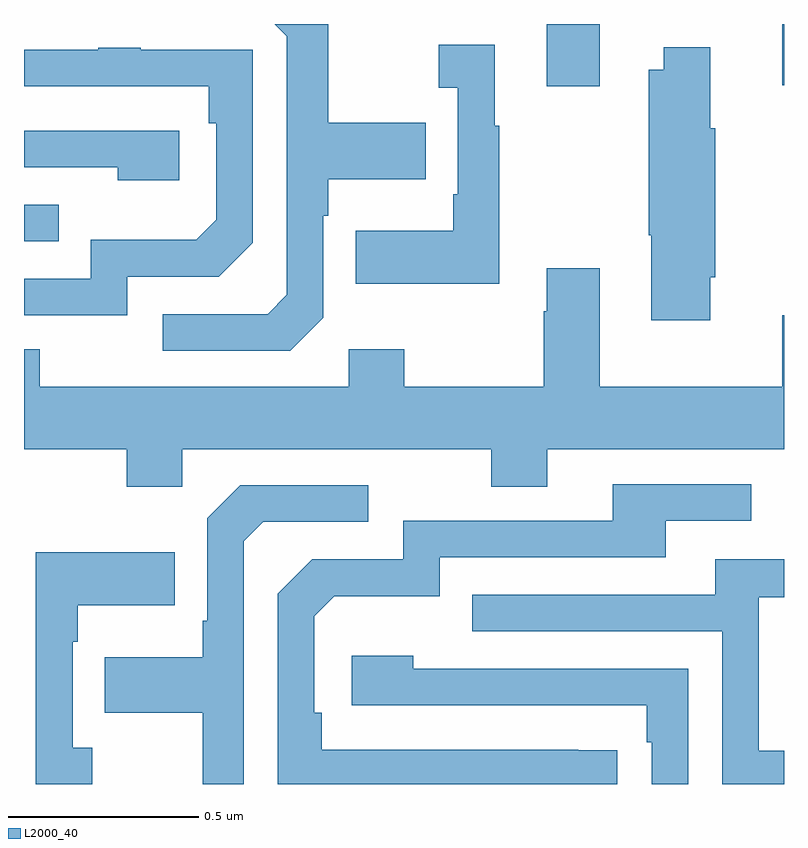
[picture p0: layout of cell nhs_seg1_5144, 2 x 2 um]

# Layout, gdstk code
import gdstk
lib = gdstk.Library(unit=1e-6, precision=1e-09)
def R(c, l, rs):  # rectangles x0, y0, x1, y1
    for r in rs: c.add(gdstk.rectangle(r[:2], r[2:], *l))
def P(c, l, *ps):  # polygons
    for p in ps: c.add(gdstk.Polygon(p, *l))
L2000_40 = (2000, 40)

nhs_seg1_5144 = lib.new_cell('nhs_seg1_5144')
R(nhs_seg1_5144, L2000_40, [(175,537.627,175.091,537.723), (176.375,538.035,176.515,538.199), (176.996,538.038,177,538.199)])
P(nhs_seg1_5144, L2000_40, [(175.788,537.426),(175.788,537.695),(175.801,537.695),(175.801,537.791),(176.057,537.791),(176.057,537.939),(175.801,537.939),(175.801,538.199),(175.66,538.199),(175.692,538.167),(175.692,537.486),(175.641,537.435),(175.365,537.435),(175.365,537.339),(175.701,537.339)],
  [(176.251,537.931),(176.239,537.931),(176.239,538.144),(176.091,538.144),(176.091,538.031),(176.142,538.031),(176.142,537.751),(176.13,537.751),(176.13,537.655),(175.873,537.655),(175.873,537.515),(176.251,537.515)],
  [(176.806,537.532),(176.819,537.532),(176.819,537.925),(176.806,537.925),(176.806,538.138),(176.684,538.138),(176.684,538.078),(176.644,538.078),(176.644,537.643),(176.651,537.643),(176.651,537.42),(176.806,537.42)],
  [(175.272,537.534),(175.512,537.534),(175.602,537.624),(175.602,538.131),(175.307,538.131),(175.307,538.136),(175.195,538.136),(175.195,538.131),(175,538.131),(175,538.035),(175.486,538.035),(175.486,537.938),(175.506,537.938),(175.506,537.684),(175.453,537.631),(175.176,537.631),(175.176,537.528),(175,537.528),(175,537.432),(175.272,537.432)],
  [(175.408,537.918),(175,537.918),(175,537.822),(175.247,537.822),(175.247,537.788),(175.408,537.788)],
  [(175.041,537.343),(175,537.343),(175,537.08),(175.27,537.08),(175.27,536.981),(175.416,536.981),(175.416,537.08),(176.23,537.08),(176.23,536.981),(176.377,536.981),(176.377,537.08),(177,537.08),(177,537.433),(176.996,537.433),(176.996,537.244),(176.515,537.244),(176.515,537.556),(176.375,537.556),(176.375,537.443),(176.368,537.443),(176.368,537.244),(176.001,537.244),(176.001,537.343),(175.854,537.343),(175.854,537.244),(175.041,537.244)],
  [(176.561,536.288),(176.459,536.288),(176.459,536.289),(175.784,536.289),(175.784,536.386),(175.764,536.386),(175.764,536.64),(175.817,536.693),(176.094,536.693),(176.094,536.796),(176.689,536.796),(176.689,536.892),(176.914,536.892),(176.914,536.988),(176.549,536.988),(176.549,536.892),(175.998,536.892),(175.998,536.79),(175.758,536.79),(175.668,536.7),(175.668,536.199),(176.561,536.199)],
  [(175.578,536.838),(175.629,536.889),(175.906,536.889),(175.906,536.985),(175.569,536.985),(175.482,536.898),(175.482,536.629),(175.47,536.629),(175.47,536.533),(175.213,536.533),(175.213,536.386),(175.47,536.386),(175.47,536.199),(175.578,536.199)],
  [(175.18,536.294),(175.128,536.294),(175.128,536.573),(175.141,536.573),(175.141,536.669),(175.397,536.669),(175.397,536.809),(175.031,536.809),(175.031,536.199),(175.18,536.199)],
  [(177,536.286),(176.934,536.286),(176.934,536.691),(177,536.691),(177,536.791),(176.819,536.791),(176.819,536.697),(176.179,536.697),(176.179,536.601),(176.838,536.601),(176.838,536.199),(177,536.199)],
  [(176.748,536.502),(176.024,536.502),(176.024,536.536),(175.863,536.536),(175.863,536.406),(176.639,536.406),(176.639,536.309),(176.652,536.309),(176.652,536.199),(176.748,536.199)])

lib.write_gds('nhs_seg1_5144.gds')
